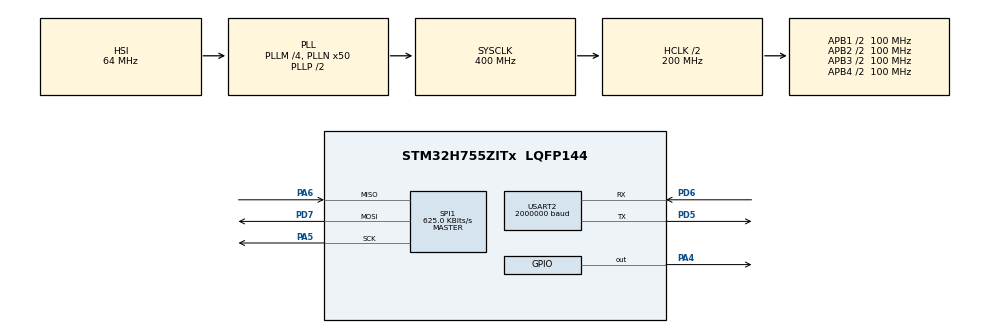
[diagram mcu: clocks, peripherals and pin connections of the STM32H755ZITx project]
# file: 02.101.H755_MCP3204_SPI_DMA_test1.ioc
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CortexM4.IPs=FATFS_M4\:I,FREERTOS_M4\:I,IWDG2\:I,RCC,WWDG2\:I,DMA,BDMA,MDMA,NVIC2\:I,ETH,DEBUG,PDM2PCM_M4\:I,PWR,RESMGR_UTILITY,SYS_M4\:I,USB_DEVICE_M4\:I,USB_HOST_M4\:I,CORTEX_M4\:I,GPIO,OPENAMP_M4\:I,VREFBUF,NUCLEO-H755ZI-Q
CortexM7.IPs=FATFS_M7\:I,FREERTOS_M7\:I,IWDG1\:I,RCC\:I,WWDG1\:I,DMA\:I,BDMA\:I,MDMA\:I,NVIC1\:I,ETH\:I,USB_OTG_FS\:I,SYS\:I,CORTEX_M7\:I,DEBUG\:I,PDM2PCM_M7\:I,PWR\:I,RESMGR_UTILITY\:I,USB_DEVICE_M7\:I,USB_HOST_M7\:I,GPIO\:I,OPENAMP_M7\:I,VREFBUF\:I,NUCLEO-H755ZI-Q\:I,MEMORYMAP\:I,USART2\:I,SPI1\:I
CortexM7.Pins=PA4
Dma.Request0=USART2_TX
Dma.Request1=USART2_RX
Dma.Request2=SPI1_RX
Dma.Request3=SPI1_TX
Dma.SPI1_RX.2.Direction=DMA_PERIPH_TO_MEMORY
Dma.SPI1_RX.2.EventEnable=DISABLE
Dma.SPI1_RX.2.FIFOMode=DMA_FIFOMODE_DISABLE
Dma.SPI1_RX.2.Instance=DMA1_Stream2
Dma.SPI1_RX.2.MemDataAlignment=DMA_MDATAALIGN_BYTE
Dma.SPI1_RX.2.MemInc=DMA_MINC_ENABLE
Dma.SPI1_RX.2.Mode=DMA_NORMAL
Dma.SPI1_RX.2.PeriphDataAlignment=DMA_PDATAALIGN_BYTE
Dma.SPI1_RX.2.PeriphInc=DMA_PINC_DISABLE
Dma.SPI1_RX.2.Polarity=HAL_DMAMUX_REQ_GEN_RISING
Dma.SPI1_RX.2.Priority=DMA_PRIORITY_LOW
Dma.SPI1_RX.2.RequestNumber=1
Dma.SPI1_RX.2.SignalID=NONE
Dma.SPI1_RX.2.SyncEnable=DISABLE
Dma.SPI1_RX.2.SyncPolarity=HAL_DMAMUX_SYNC_NO_EVENT
Dma.SPI1_RX.2.SyncRequestNumber=1
Dma.SPI1_RX.2.SyncSignalID=NONE
Dma.SPI1_TX.3.Direction=DMA_MEMORY_TO_PERIPH
Dma.SPI1_TX.3.EventEnable=DISABLE
Dma.SPI1_TX.3.FIFOMode=DMA_FIFOMODE_DISABLE
Dma.SPI1_TX.3.Instance=DMA1_Stream3
Dma.SPI1_TX.3.MemDataAlignment=DMA_MDATAALIGN_BYTE
Dma.SPI1_TX.3.MemInc=DMA_MINC_ENABLE
Dma.SPI1_TX.3.Mode=DMA_NORMAL
Dma.SPI1_TX.3.PeriphDataAlignment=DMA_PDATAALIGN_BYTE
Dma.SPI1_TX.3.PeriphInc=DMA_PINC_DISABLE
Dma.SPI1_TX.3.Polarity=HAL_DMAMUX_REQ_GEN_RISING
Dma.SPI1_TX.3.Priority=DMA_PRIORITY_LOW
Dma.SPI1_TX.3.RequestNumber=1
Dma.SPI1_TX.3.SignalID=NONE
Dma.SPI1_TX.3.SyncEnable=DISABLE
Dma.SPI1_TX.3.SyncPolarity=HAL_DMAMUX_SYNC_NO_EVENT
Dma.SPI1_TX.3.SyncRequestNumber=1
Dma.SPI1_TX.3.SyncSignalID=NONE
Dma.USART2_RX.1.Direction=DMA_PERIPH_TO_MEMORY
Dma.USART2_RX.1.EventEnable=DISABLE
Dma.USART2_RX.1.FIFOMode=DMA_FIFOMODE_DISABLE
Dma.USART2_RX.1.Instance=DMA1_Stream1
Dma.USART2_RX.1.MemDataAlignment=DMA_MDATAALIGN_BYTE
Dma.USART2_RX.1.MemInc=DMA_MINC_ENABLE
Dma.USART2_RX.1.Mode=DMA_CIRCULAR
Dma.USART2_RX.1.PeriphDataAlignment=DMA_PDATAALIGN_BYTE
Dma.USART2_RX.1.PeriphInc=DMA_PINC_DISABLE
Dma.USART2_RX.1.Polarity=HAL_DMAMUX_REQ_GEN_RISING
Dma.USART2_RX.1.Priority=DMA_PRIORITY_LOW
Dma.USART2_RX.1.RequestNumber=1
Dma.USART2_RX.1.SignalID=NONE
Dma.USART2_RX.1.SyncEnable=DISABLE
Dma.USART2_RX.1.SyncPolarity=HAL_DMAMUX_SYNC_NO_EVENT
Dma.USART2_RX.1.SyncRequestNumber=1
Dma.USART2_RX.1.SyncSignalID=NONE
Dma.USART2_TX.0.Direction=DMA_MEMORY_TO_PERIPH
Dma.USART2_TX.0.EventEnable=DISABLE
Dma.USART2_TX.0.FIFOMode=DMA_FIFOMODE_DISABLE
Dma.USART2_TX.0.Instance=DMA1_Stream0
Dma.USART2_TX.0.MemDataAlignment=DMA_MDATAALIGN_BYTE
Dma.USART2_TX.0.MemInc=DMA_MINC_ENABLE
Dma.USART2_TX.0.Mode=DMA_NORMAL
Dma.USART2_TX.0.PeriphDataAlignment=DMA_PDATAALIGN_BYTE
Dma.USART2_TX.0.PeriphInc=DMA_PINC_DISABLE
Dma.USART2_TX.0.Polarity=HAL_DMAMUX_REQ_GEN_RISING
Dma.USART2_TX.0.Priority=DMA_PRIORITY_LOW
Dma.USART2_TX.0.RequestNumber=1
Dma.USART2_TX.0.SignalID=NONE
Dma.USART2_TX.0.SyncEnable=DISABLE
Dma.USART2_TX.0.SyncPolarity=HAL_DMAMUX_SYNC_NO_EVENT
Dma.USART2_TX.0.SyncRequestNumber=1
Dma.USART2_TX.0.SyncSignalID=NONE
Mcu.Family=STM32H7
Mcu.Name=STM32H755ZITx
Mcu.Package=LQFP144
NVIC1.DMA1_Stream0_IRQn=true\:2\:0\:true\:false\:true\:false\:true\:true
NVIC1.DMA1_Stream1_IRQn=true\:2\:0\:true\:false\:true\:false\:true\:true
NVIC1.DMA1_Stream2_IRQn=true\:1\:0\:true\:false\:true\:false\:true\:true
NVIC1.DMA1_Stream3_IRQn=true\:1\:0\:true\:false\:true\:false\:true\:true
NVIC1.PriorityGroup=NVIC_PRIORITYGROUP_4
NVIC1.SPI1_IRQn=true\:1\:0\:true\:false\:true\:true\:true\:true
NVIC1.USART2_IRQn=true\:2\:0\:true\:false\:true\:true\:true\:true
NVIC2.PriorityGroup=NVIC_PRIORITYGROUP_4
PA4.GPIO_ModeDefaultOutputPP=GPIO_MODE_OUTPUT_PP
PA4.GPIO_PuPd=GPIO_NOPULL
PA4.GPIO_Speed=GPIO_SPEED_FREQ_VERY_HIGH
PA4.PinAttribute=CortexM7
PA4.PinState=GPIO_PIN_SET
PA4.Signal=GPIO_Output
PA5.Mode=Full_Duplex_Master
PA5.PinAttribute=CortexM7
PA5.Signal=SPI1_SCK
PA6.Mode=Full_Duplex_Master
PA6.PinAttribute=CortexM7
PA6.Signal=SPI1_MISO
PD5.Mode=Asynchronous
PD5.PinAttribute=CortexM7
PD5.Signal=USART2_TX
PD6.Mode=Asynchronous
PD6.PinAttribute=CortexM7
PD6.Signal=USART2_RX
PD7.Mode=Full_Duplex_Master
PD7.PinAttribute=CortexM7
PD7.Signal=SPI1_MOSI
ProjectManager.HeapSize=M4-0x200,M7-0x200
ProjectManager.StackSize=M4-0x400,M7-0x400
ProjectManager.TargetToolchain=STM32CubeIDE
RCC.ADCFreq_Value=129000000
RCC.APB1Freq_Value=100000000
RCC.APB2Freq_Value=100000000
RCC.APB3Freq_Value=100000000
RCC.APB4Freq_Value=100000000
RCC.CortexFreq_Value=400000000
RCC.D1PPRE=RCC_APB3_DIV2
RCC.D2PPRE1=RCC_APB1_DIV2
RCC.D2PPRE2=RCC_APB2_DIV2
RCC.D3PPRE=RCC_APB4_DIV2
RCC.DIVM1=4
RCC.DIVN1=50
RCC.DIVQ1=5
RCC.HCLKFreq_Value=200000000
RCC.HPRE=RCC_HCLK_DIV2
RCC.PLL2FRACN=0
RCC.PLL3FRACN=0
RCC.PLLFRACN=0
RCC.SYSCLKFreq_VALUE=400000000
RCC.SYSCLKSource=RCC_SYSCLKSOURCE_PLLCLK
RCC.SupplySource=PWR_DIRECT_SMPS_SUPPLY
RCC.USBFreq_Value=160000000
SPI1.BaudRatePrescaler=SPI_BAUDRATEPRESCALER_256
SPI1.CalculateBaudRate=625.0 KBits/s
SPI1.DataSize=SPI_DATASIZE_8BIT
SPI1.Direction=SPI_DIRECTION_2LINES
SPI1.Mode=SPI_MODE_MASTER
SPI1.VirtualType=VM_MASTER
USART2.BaudRate=2000000
USART2.VirtualMode-Asynchronous=VM_ASYNC
VP_MEMORYMAP_VS_MEMORYMAP.Mode=CurAppReg
VP_SYS_M4_VS_Systick.Mode=SysTick
board=NUCLEO-H755ZI-Q

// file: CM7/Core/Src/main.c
/* USER CODE BEGIN Header */
/**
  ******************************************************************************
  * @file           : main.c
  * @brief          : Main program body
  ******************************************************************************
  * @attention
  *
  * Copyright (c) 2025 STMicroelectronics.
  * All rights reserved.
  *
  * This software is licensed under terms that can be found in the LICENSE file
  * in the root directory of this software component.
  * If no LICENSE file comes with this software, it is provided AS-IS.
  *
  ******************************************************************************
  */
/* USER CODE END Header */
#include "main.h"

/* USER CODE BEGIN Includes */
#include <stdio.h>
#include <string.h>
#include <stddef.h>
#include <stdarg.h>
#include <stdbool.h>
#include <stdlib.h>
/* USER CODE END Includes */

/* USER CODE BEGIN PD */

/* DUAL_CORE_BOOT_SYNC_SEQUENCE: Define for dual core boot synchronization    */
/*                             demonstration code based on hardware semaphore */
/* This define is present in both CM7/CM4 projects                            */
/* To comment when developping/debugging on a single core                     */
#define DUAL_CORE_BOOT_SYNC_SEQUENCE

#if defined(DUAL_CORE_BOOT_SYNC_SEQUENCE)
#ifndef HSEM_ID_0
#define HSEM_ID_0 (0U) /* HW semaphore 0*/
#endif
#endif /* DUAL_CORE_BOOT_SYNC_SEQUENCE */

/* USER CODE END PD */

SPI_HandleTypeDef hspi1;
DMA_HandleTypeDef hdma_spi1_rx;
DMA_HandleTypeDef hdma_spi1_tx;

UART_HandleTypeDef huart2;
DMA_HandleTypeDef hdma_usart2_tx;
DMA_HandleTypeDef hdma_usart2_rx;

/* USER CODE BEGIN PV */
uint8_t dma_rx_buffer[64];
uint8_t dma_tx_buffer[64];
uint16_t old_pos = 0;

static volatile bool uart_tx_busy = false;
static char uartBuffer[250];

static uint8_t spi_tx_buf[3];
static uint8_t spi_rx_buf[3];
static volatile uint8_t spi_dma_done = 0;
/* USER CODE END PV */

void SystemClock_Config(void);
static void MX_GPIO_Init(void);
static void MX_DMA_Init(void);
static void MX_USART2_UART_Init(void);
static void MX_SPI1_Init(void);
/* USER CODE BEGIN PFP */

void DebugPrint(const char *format, ...)
{
	// Wait for previous transmission to complete
	    while (uart_tx_busy);

	    va_list args;
	    va_start(args, format);
	    vsnprintf(uartBuffer, sizeof(uartBuffer), format, args);
	    va_end(args);

	    uart_tx_busy = true;

	    HAL_UART_Transmit_DMA(&huart2, (uint8_t *)uartBuffer, strlen(uartBuffer));
}

void check_dma_data(void)
{
    static uint32_t total_pos = 0;  // new: global linear counter

    uint16_t pos = sizeof(dma_rx_buffer) - __HAL_DMA_GET_COUNTER(&hdma_usart2_rx);

    if (pos != old_pos)
    {
        if (pos > old_pos)
        {
            // Normal forward move (no wrap)
            for (uint16_t i = old_pos; i < pos; i++)
            {
                DebugPrint("\r\nGot: '%c' (0x%02X) at pos %lu\r\n\r\n",
                           dma_rx_buffer[i], dma_rx_buffer[i], total_pos++);
            }
        }
        else
        {
            // Wrapped around — handle end part and restart from 0
            for (uint16_t i = old_pos; i < sizeof(dma_rx_buffer); i++)
            {
                DebugPrint("\r\nGot: '%c' (0x%02X) at pos %lu\r\n\r\n",
                           dma_rx_buffer[i], dma_rx_buffer[i], total_pos++);
            }
            for (uint16_t i = 0; i < pos; i++)
            {
                DebugPrint("\r\nGot: '%c' (0x%02X) at pos %lu\r\n\r\n",
                           dma_rx_buffer[i], dma_rx_buffer[i], total_pos++);
            }
        }

        old_pos = pos;
    }
}

uint16_t sensor_read_mcp3208(void)
{
    uint8_t addr = (0b00011000 | (0b010 & 0b111));  // channel = 2

    spi_tx_buf[0] = addr;   // Command byte
    spi_tx_buf[1] = 0;      // Dummy
    spi_tx_buf[2] = 0;      // Dummy

    spi_dma_done = 0;

    // CS LOW
    HAL_GPIO_WritePin(GPIOA, GPIO_PIN_4, GPIO_PIN_RESET);

    // Start DMA transfer of 3 bytes
    HAL_SPI_TransmitReceive_DMA(&hspi1, spi_tx_buf, spi_rx_buf, 3);

    // Wait for DMA complete (still non-blocking for CPU)
    while (!spi_dma_done) { }

    // CS HIGH
    HAL_GPIO_WritePin(GPIOA, GPIO_PIN_4, GPIO_PIN_SET);

    // Parse MCP3208 12-bit result:
    // rx_buf[1] contains high 6 bits
    // rx_buf[2] contains low 8 bits
    uint16_t adc = ((spi_rx_buf[1] & 0x3F) << 6) |
                   ((spi_rx_buf[2] & 0xFC) >> 2);

    return adc;
}

/* USER CODE END PFP */

int main(void)
{

/* USER CODE BEGIN Boot_Mode_Sequence_0 */
#if defined(DUAL_CORE_BOOT_SYNC_SEQUENCE)
  int32_t timeout;
#endif /* DUAL_CORE_BOOT_SYNC_SEQUENCE */
/* USER CODE END Boot_Mode_Sequence_0 */

/* USER CODE BEGIN Boot_Mode_Sequence_1 */
#if defined(DUAL_CORE_BOOT_SYNC_SEQUENCE)
  /* Wait until CPU2 boots and enters in stop mode or timeout*/
  timeout = 0xFFFF;
  while((__HAL_RCC_GET_FLAG(RCC_FLAG_D2CKRDY) != RESET) && (timeout-- > 0));
  if ( timeout < 0 )
  {
  Error_Handler();
  }
#endif /* DUAL_CORE_BOOT_SYNC_SEQUENCE */
/* USER CODE END Boot_Mode_Sequence_1 */
  /* MCU Configuration--------------------------------------------------------*/

  /* Reset of all peripherals, Initializes the Flash interface and the Systick. */
  HAL_Init();

  /* Configure the system clock */
  SystemClock_Config();
/* USER CODE BEGIN Boot_Mode_Sequence_2 */
#if defined(DUAL_CORE_BOOT_SYNC_SEQUENCE)
/* When system initialization is finished, Cortex-M7 will release Cortex-M4 by means of
HSEM notification */
/*HW semaphore Clock enable*/
__HAL_RCC_HSEM_CLK_ENABLE();
/*Take HSEM */
HAL_HSEM_FastTake(HSEM_ID_0);
/*Release HSEM in order to notify the CPU2(CM4)*/
HAL_HSEM_Release(HSEM_ID_0,0);
/* wait until CPU2 wakes up from stop mode */
timeout = 0xFFFF;
while((__HAL_RCC_GET_FLAG(RCC_FLAG_D2CKRDY) == RESET) && (timeout-- > 0));
if ( timeout < 0 )
{
Error_Handler();
}
#endif /* DUAL_CORE_BOOT_SYNC_SEQUENCE */
/* USER CODE END Boot_Mode_Sequence_2 */

  /* Initialize all configured peripherals */
  MX_GPIO_Init();
  MX_DMA_Init();
  MX_USART2_UART_Init();
  MX_SPI1_Init();
  /* USER CODE BEGIN 2 */

  DebugPrint("\r\n=== UART DMA RX Circular + TX Normal ===\r\n");
  DebugPrint("DMA started! Type something...\r\n");
  DebugPrint("1DMA started! Type something...\r\n");
  DebugPrint("2DMA started! Type something...\r\n");
  DebugPrint("3DMA started! Type something...\r\n");
  DebugPrint("4DMA started! Type something...\r\n");
  DebugPrint("5DMA started! Type something...\r\n");

  HAL_UART_Receive_DMA(&huart2, dma_rx_buffer, sizeof(dma_rx_buffer));

  uint16_t adc_val = 0;
  float adc_vol = 0;
  /* USER CODE END 2 */

  /* Infinite loop */
  while (1)
  {

    /* USER CODE BEGIN 3 */
	  	  adc_val = sensor_read_mcp3208();
	  	  adc_vol = (adc_val/4096.0f) * 4.096f;
	  	  check_dma_data();
	  	  DebugPrint("ADC value: 0x%x | Voltage: %.3fV\r\n",adc_val, adc_vol);
	  	  HAL_Delay(1000);
  }
  /* USER CODE END 3 */
}

void SystemClock_Config(void)
{
  RCC_OscInitTypeDef RCC_OscInitStruct = {0};
  RCC_ClkInitTypeDef RCC_ClkInitStruct = {0};

  /** Supply configuration update enable
  */
  HAL_PWREx_ConfigSupply(PWR_DIRECT_SMPS_SUPPLY);

  /** Configure the main internal regulator output voltage
  */
  __HAL_PWR_VOLTAGESCALING_CONFIG(PWR_REGULATOR_VOLTAGE_SCALE1);

  while(!__HAL_PWR_GET_FLAG(PWR_FLAG_VOSRDY)) {}

  /** Initializes the RCC Oscillators according to the specified parameters
  * in the RCC_OscInitTypeDef structure.
  */
  RCC_OscInitStruct.OscillatorType = RCC_OSCILLATORTYPE_HSI;
  RCC_OscInitStruct.HSIState = RCC_HSI_DIV1;
  RCC_OscInitStruct.HSICalibrationValue = RCC_HSICALIBRATION_DEFAULT;
  RCC_OscInitStruct.PLL.PLLState = RCC_PLL_ON;
  RCC_OscInitStruct.PLL.PLLSource = RCC_PLLSOURCE_HSI;
  RCC_OscInitStruct.PLL.PLLM = 4;
  RCC_OscInitStruct.PLL.PLLN = 50;
  RCC_OscInitStruct.PLL.PLLP = 2;
  RCC_OscInitStruct.PLL.PLLQ = 5;
  RCC_OscInitStruct.PLL.PLLR = 2;
  RCC_OscInitStruct.PLL.PLLRGE = RCC_PLL1VCIRANGE_3;
  RCC_OscInitStruct.PLL.PLLVCOSEL = RCC_PLL1VCOWIDE;
  RCC_OscInitStruct.PLL.PLLFRACN = 0;
  if (HAL_RCC_OscConfig(&RCC_OscInitStruct) != HAL_OK)
  {
    Error_Handler();
  }

  /** Initializes the CPU, AHB and APB buses clocks
  */
  RCC_ClkInitStruct.ClockType = RCC_CLOCKTYPE_HCLK|RCC_CLOCKTYPE_SYSCLK
                              |RCC_CLOCKTYPE_PCLK1|RCC_CLOCKTYPE_PCLK2
                              |RCC_CLOCKTYPE_D3PCLK1|RCC_CLOCKTYPE_D1PCLK1;
  RCC_ClkInitStruct.SYSCLKSource = RCC_SYSCLKSOURCE_PLLCLK;
  RCC_ClkInitStruct.SYSCLKDivider = RCC_SYSCLK_DIV1;
  RCC_ClkInitStruct.AHBCLKDivider = RCC_HCLK_DIV2;
  RCC_ClkInitStruct.APB3CLKDivider = RCC_APB3_DIV2;
  RCC_ClkInitStruct.APB1CLKDivider = RCC_APB1_DIV2;
  RCC_ClkInitStruct.APB2CLKDivider = RCC_APB2_DIV2;
  RCC_ClkInitStruct.APB4CLKDivider = RCC_APB4_DIV2;

  if (HAL_RCC_ClockConfig(&RCC_ClkInitStruct, FLASH_LATENCY_2) != HAL_OK)
  {
    Error_Handler();
  }
}

static void MX_SPI1_Init(void)
{

  /* SPI1 parameter configuration*/
  hspi1.Instance = SPI1;
  hspi1.Init.Mode = SPI_MODE_MASTER;
  hspi1.Init.Direction = SPI_DIRECTION_2LINES;
  hspi1.Init.DataSize = SPI_DATASIZE_8BIT;
  hspi1.Init.CLKPolarity = SPI_POLARITY_LOW;
  hspi1.Init.CLKPhase = SPI_PHASE_1EDGE;
  hspi1.Init.NSS = SPI_NSS_SOFT;
  hspi1.Init.BaudRatePrescaler = SPI_BAUDRATEPRESCALER_256;
  hspi1.Init.FirstBit = SPI_FIRSTBIT_MSB;
  hspi1.Init.TIMode = SPI_TIMODE_DISABLE;
  hspi1.Init.CRCCalculation = SPI_CRCCALCULATION_DISABLE;
  hspi1.Init.CRCPolynomial = 0x0;
  hspi1.Init.NSSPMode = SPI_NSS_PULSE_ENABLE;
  hspi1.Init.NSSPolarity = SPI_NSS_POLARITY_LOW;
  hspi1.Init.FifoThreshold = SPI_FIFO_THRESHOLD_01DATA;
  hspi1.Init.TxCRCInitializationPattern = SPI_CRC_INITIALIZATION_ALL_ZERO_PATTERN;
  hspi1.Init.RxCRCInitializationPattern = SPI_CRC_INITIALIZATION_ALL_ZERO_PATTERN;
  hspi1.Init.MasterSSIdleness = SPI_MASTER_SS_IDLENESS_00CYCLE;
  hspi1.Init.MasterInterDataIdleness = SPI_MASTER_INTERDATA_IDLENESS_00CYCLE;
  hspi1.Init.MasterReceiverAutoSusp = SPI_MASTER_RX_AUTOSUSP_DISABLE;
  hspi1.Init.MasterKeepIOState = SPI_MASTER_KEEP_IO_STATE_DISABLE;
  hspi1.Init.IOSwap = SPI_IO_SWAP_DISABLE;
  if (HAL_SPI_Init(&hspi1) != HAL_OK)
  {
    Error_Handler();
  }

}

static void MX_USART2_UART_Init(void)
{

  huart2.Instance = USART2;
  huart2.Init.BaudRate = 2000000;
  huart2.Init.WordLength = UART_WORDLENGTH_8B;
  huart2.Init.StopBits = UART_STOPBITS_1;
  huart2.Init.Parity = UART_PARITY_NONE;
  huart2.Init.Mode = UART_MODE_TX_RX;
  huart2.Init.HwFlowCtl = UART_HWCONTROL_NONE;
  huart2.Init.OverSampling = UART_OVERSAMPLING_16;
  huart2.Init.OneBitSampling = UART_ONE_BIT_SAMPLE_DISABLE;
  huart2.Init.ClockPrescaler = UART_PRESCALER_DIV1;
  huart2.AdvancedInit.AdvFeatureInit = UART_ADVFEATURE_NO_INIT;
  if (HAL_UART_Init(&huart2) != HAL_OK)
  {
    Error_Handler();
  }
  if (HAL_UARTEx_SetTxFifoThreshold(&huart2, UART_TXFIFO_THRESHOLD_1_8) != HAL_OK)
  {
    Error_Handler();
  }
  if (HAL_UARTEx_SetRxFifoThreshold(&huart2, UART_RXFIFO_THRESHOLD_1_8) != HAL_OK)
  {
    Error_Handler();
  }
  if (HAL_UARTEx_DisableFifoMode(&huart2) != HAL_OK)
  {
    Error_Handler();
  }

}

static void MX_DMA_Init(void)
{

  /* DMA controller clock enable */
  __HAL_RCC_DMA1_CLK_ENABLE();

  /* DMA interrupt init */
  /* DMA1_Stream0_IRQn interrupt configuration */
  HAL_NVIC_SetPriority(DMA1_Stream0_IRQn, 2, 0);
  HAL_NVIC_EnableIRQ(DMA1_Stream0_IRQn);
  /* DMA1_Stream1_IRQn interrupt configuration */
  HAL_NVIC_SetPriority(DMA1_Stream1_IRQn, 2, 0);
  HAL_NVIC_EnableIRQ(DMA1_Stream1_IRQn);
  /* DMA1_Stream2_IRQn interrupt configuration */
  HAL_NVIC_SetPriority(DMA1_Stream2_IRQn, 1, 0);
  HAL_NVIC_EnableIRQ(DMA1_Stream2_IRQn);
  /* DMA1_Stream3_IRQn interrupt configuration */
  HAL_NVIC_SetPriority(DMA1_Stream3_IRQn, 1, 0);
  HAL_NVIC_EnableIRQ(DMA1_Stream3_IRQn);

}

static void MX_GPIO_Init(void)
{
  GPIO_InitTypeDef GPIO_InitStruct = {0};

  /* GPIO Ports Clock Enable */
  __HAL_RCC_GPIOA_CLK_ENABLE();
  __HAL_RCC_GPIOD_CLK_ENABLE();

  /*Configure GPIO pin Output Level */
  HAL_GPIO_WritePin(GPIOA, GPIO_PIN_4, GPIO_PIN_SET);

  /*Configure GPIO pin : PA4 */
  GPIO_InitStruct.Pin = GPIO_PIN_4;
  GPIO_InitStruct.Mode = GPIO_MODE_OUTPUT_PP;
  GPIO_InitStruct.Pull = GPIO_NOPULL;
  GPIO_InitStruct.Speed = GPIO_SPEED_FREQ_VERY_HIGH;
  HAL_GPIO_Init(GPIOA, &GPIO_InitStruct);

}

/* USER CODE BEGIN 4 */
void HAL_UART_TxCpltCallback(UART_HandleTypeDef *huart)
{
    if (huart->Instance == USART2)
    {
        uart_tx_busy = false;  // Transmission complete
    }
}

void HAL_SPI_TxRxCpltCallback(SPI_HandleTypeDef *hspi)
{
    if (hspi == &hspi1)
    {
        spi_dma_done = 1;
    }
}
/* USER CODE END 4 */

void Error_Handler(void)
{
  __disable_irq();
  while (1)
  {
  }
}
